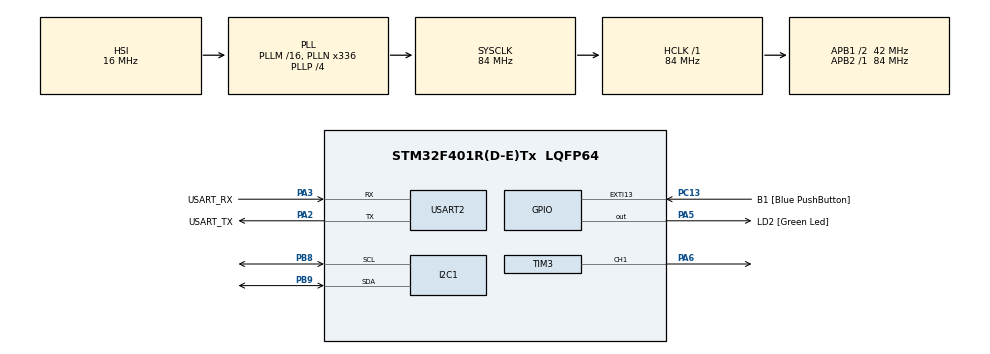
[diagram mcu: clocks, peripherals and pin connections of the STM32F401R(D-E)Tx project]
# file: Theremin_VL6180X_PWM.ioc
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Mcu.Family=STM32F4
Mcu.Name=STM32F401R(D-E)Tx
Mcu.Package=LQFP64
NVIC.EXTI15_10_IRQn=true\:0\:0\:false\:false\:true\:true\:true\:true
NVIC.PriorityGroup=NVIC_PRIORITYGROUP_4
NVIC.TIM2_IRQn=true\:0\:0\:false\:false\:true\:true\:true\:true
PA13.GPIO_Label=TMS
PA13.Mode=Trace_Asynchronous_SW
PA13.Signal=SYS_JTMS-SWDIO
PA14.GPIO_Label=TCK
PA14.Mode=Trace_Asynchronous_SW
PA14.Signal=SYS_JTCK-SWCLK
PA2.GPIO_Label=USART_TX
PA2.GPIO_Mode=GPIO_MODE_AF_PP
PA2.GPIO_PuPd=GPIO_NOPULL
PA2.GPIO_Speed=GPIO_SPEED_FREQ_LOW
PA2.Mode=Asynchronous
PA2.Signal=USART2_TX
PA3.GPIO_Label=USART_RX
PA3.GPIO_Mode=GPIO_MODE_AF_PP
PA3.GPIO_PuPd=GPIO_NOPULL
PA3.GPIO_Speed=GPIO_SPEED_FREQ_LOW
PA3.Mode=Asynchronous
PA3.Signal=USART2_RX
PA5.GPIO_Label=LD2 [Green Led]
PA5.GPIO_Mode=GPIO_MODE_OUTPUT_PP
PA5.GPIO_PuPd=GPIO_NOPULL
PA5.GPIO_Speed=GPIO_SPEED_FREQ_LOW
PA5.Signal=GPIO_Output
PA6.Signal=S_TIM3_CH1
PB3.GPIO_Label=SWO
PB3.Mode=Trace_Asynchronous_SW
PB3.Signal=SYS_JTDO-SWO
PB8.Mode=I2C
PB8.Signal=I2C1_SCL
PB9.Mode=I2C
PB9.Signal=I2C1_SDA
PC13-ANTI_TAMP.GPIO_Label=B1 [Blue PushButton]
PC13-ANTI_TAMP.GPIO_ModeDefaultEXTI=GPIO_MODE_IT_FALLING
PC13-ANTI_TAMP.GPIO_PuPd=GPIO_NOPULL
PC13-ANTI_TAMP.Signal=GPXTI13
PC14-OSC32_IN.Mode=LSE-External-Oscillator
PC14-OSC32_IN.Signal=RCC_OSC32_IN
PC15-OSC32_OUT.Mode=LSE-External-Oscillator
PC15-OSC32_OUT.Signal=RCC_OSC32_OUT
PH0\ -\ OSC_IN.Mode=HSE-External-Clock-Source
PH0\ -\ OSC_IN.Signal=RCC_OSC_IN
PH1\ -\ OSC_OUT.Mode=HSE-External-Clock-Source
PH1\ -\ OSC_OUT.Signal=RCC_OSC_OUT
ProjectManager.HeapSize=0x200
ProjectManager.StackSize=0x400
ProjectManager.TargetToolchain=STM32CubeIDE
RCC.48MHZClocksFreq_Value=48000000
RCC.AHBFreq_Value=84000000
RCC.APB1CLKDivider=RCC_HCLK_DIV2
RCC.APB1Freq_Value=42000000
RCC.APB1TimFreq_Value=84000000
RCC.APB2Freq_Value=84000000
RCC.APB2TimFreq_Value=84000000
RCC.CortexFreq_Value=84000000
RCC.HCLKFreq_Value=84000000
RCC.HSE_VALUE=8000000
RCC.HSI_VALUE=16000000
RCC.PLLN=336
RCC.PLLP=RCC_PLLP_DIV4
RCC.PLLQ=7
RCC.SYSCLKFreq_VALUE=84000000
RCC.SYSCLKSource=RCC_SYSCLKSOURCE_PLLCLK
RCC.VCOOutputFreq_Value=336000000
SH.S_TIM3_CH1.0=TIM3_CH1,PWM Generation1 CH1
TIM2.Period=49
TIM2.Prescaler=83
TIM3.Channel-PWM\ Generation1\ CH1=TIM_CHANNEL_1
TIM3.Period=839
TIM3.Pulse-PWM\ Generation1\ CH1=420
USART2.VirtualMode=VM_ASYNC
VP_TIM2_VS_ClockSourceINT.Mode=Internal
board=NUCLEO-F401RE

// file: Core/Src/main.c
/* USER CODE BEGIN Header */
/**
  ******************************************************************************
  * @file           : main.c
  * @brief          : Main program body
  ******************************************************************************
  * @attention
  *
  * Copyright (c) 2026 STMicroelectronics.
  * All rights reserved.
  *
  * This software is licensed under terms that can be found in the LICENSE file
  * in the root directory of this software component.
  * If no LICENSE file comes with this software, it is provided AS-IS.
  *
  ******************************************************************************
  */
/* USER CODE END Header */
#include "main.h"
#include "i2c.h"
#include "tim.h"
#include "usart.h"
#include "gpio.h"

/* USER CODE BEGIN Includes */
#include "vl6180x.h"
#include "stm32f4xx_hal.h"
#include <stdio.h>
#include <math.h>
#include "audio.h"
#include "tim.h"
/* USER CODE END Includes */

/* USER CODE BEGIN PV */

volatile uint32_t fs_ticks = 0;

/* USER CODE END PV */

void SystemClock_Config(void);

/* USER CODE BEGIN 0 */

static void I2C_Scan(void)
{
  printf("I2C scan start\r\n");   // start the scan

  // scan all 7-bit I2C addresses (1..127)
  for (uint8_t a = 1; a < 128; a++)
  {
    // We need to shift from 7 to 8 because of HAL
    if (HAL_I2C_IsDeviceReady(&hi2c1, (uint16_t)(a << 1), 1, 20) == HAL_OK)
    {
      // print device 7-bit address
      printf("Found 0x%02X\r\n", a);
    }
  }

  printf("I2C scan end\r\n");     // scan ending
}

// map filtered distance df  -> frequency f
static float map_distance_to_freq(float df)
{
    const float dmin = 40.0f,  dmax = 200.0f;   // distance range. I clamp it between 40 and 200
    const float fmin = 110.0f, fmax = 1760.0f;  // output freq range

    // normalize df to x in [0..1]
    float x = (df - dmin) / (dmax - dmin);
    if (x < 0.0f) x = 0.0f;
    if (x > 1.0f) x = 1.0f;

    // The mapping :
    float ratio = fmax / fmin;
    return fmin * powf(ratio, x);   // exponential. feels better than linear for sound. it smooths the raw number of the distance

}

/* USER CODE END 0 */

int main(void)
{

  /* MCU Configuration--------------------------------------------------------*/

  /* Reset of all peripherals, Initializes the Flash interface and the Systick. */
  HAL_Init();

  /* Configure the system clock */
  SystemClock_Config();

  /* Initialize all configured peripherals */
  MX_GPIO_Init();
  MX_USART2_UART_Init();
  MX_I2C1_Init();
  MX_TIM3_Init();
  MX_TIM2_Init();
  /* USER CODE BEGIN 2 */

  VL6180X_t tof;     // create a VL6180X device object
  // try to init the sensor on I2C1. for checking if the sensor is alive
  if (VL6180X_Init(&tof, &hi2c1, 0x29))
  {
    // successful
    printf("VL6180X init OK\r\n");
  }
  else
  {
    // fail
    printf("VL6180X init FAIL\r\n");
  }

  I2C_Scan();

  const char msg[] = "BOOT is OK\r\n";
  HAL_UART_Transmit(&huart2, (uint8_t*)msg, sizeof(msg)-1, HAL_MAX_DELAY);   // check the BOOT

  // printf("Hello from Polito\r\n");  // printf check

  // same as before. HAL wants 8-bit. so I shift
  uint16_t addr = (0x29 << 1);

  // Finally I can check if the sensor is recognized or not
  HAL_StatusTypeDef ok = HAL_I2C_IsDeviceReady(&hi2c1, addr, 3, 100);    // try 3 times. and each time wait for 100 ms
  if (ok == HAL_OK)
      printf("VL6180X detected\r\n");
  else
      printf("VL6180X NOT detected\r\n");

  // start PWM
  HAL_TIM_PWM_Start(&htim3, TIM_CHANNEL_1);
  // start Fs interrupt timer
  HAL_TIM_Base_Start_IT(&htim2);

  // init audio (ARR is the PWM timer period)
  Audio_Init(&htim3, TIM_CHANNEL_1, (uint16_t)__HAL_TIM_GET_AUTORELOAD(&htim3), 20000);
  Audio_SetWaveform(WAVE_SINE);
  Audio_SetFreqHz(440.0f);

  /* USER CODE END 2 */

  /* Infinite loop */
  /* USER CODE BEGIN WHILE */
  while (1)
  {
	      // I used a filter to smooth the numbers
	      static float df = 100.0f;
	      const float alpha = 0.15f;    // smoothing factor. it alpha is smaller, the numbers are smoother but it is slower

	      // read distance from sensor
	      uint8_t mm;

	      if (VL6180X_ReadRangeSingle(&tof, &mm, 200))
	      {
	          float d = (float)mm;

	          // sth like saturation
	          if (d < 40)  d = 40;
	          if (d > 200) d = 200;

	          // low-pass filter
	          df = df + alpha * (d - df);

	          // printf("Real = %u  Filtered = %.1f\r\n", mm, df);

	          float f = map_distance_to_freq(df);
	          Audio_SetFreqHz(f);
	          // printf("raw=%u  filt=%.1f  f=%.1f\r\n", mm, df, f);     // this is the main printf to see the values in putty. commented for the last part of the project

	      }
	      HAL_Delay(50); // 20 updates per second

	      static uint32_t last = 0;
	      if (HAL_GetTick() - last >= 1000) {
	          last += 1000;
	          // printf("Fs ticks/sec = %lu\r\n", fs_ticks);   // commented for the last part of the project
	          fs_ticks = 0;
	      }

    /* USER CODE END WHILE */

  }
}

void SystemClock_Config(void)
{
  RCC_OscInitTypeDef RCC_OscInitStruct = {0};
  RCC_ClkInitTypeDef RCC_ClkInitStruct = {0};

  /** Configure the main internal regulator output voltage
  */
  __HAL_RCC_PWR_CLK_ENABLE();
  __HAL_PWR_VOLTAGESCALING_CONFIG(PWR_REGULATOR_VOLTAGE_SCALE2);

  /** Initializes the RCC Oscillators according to the specified parameters
  * in the RCC_OscInitTypeDef structure.
  */
  RCC_OscInitStruct.OscillatorType = RCC_OSCILLATORTYPE_HSI;
  RCC_OscInitStruct.HSIState = RCC_HSI_ON;
  RCC_OscInitStruct.HSICalibrationValue = RCC_HSICALIBRATION_DEFAULT;
  RCC_OscInitStruct.PLL.PLLState = RCC_PLL_ON;
  RCC_OscInitStruct.PLL.PLLSource = RCC_PLLSOURCE_HSI;
  RCC_OscInitStruct.PLL.PLLM = 16;
  RCC_OscInitStruct.PLL.PLLN = 336;
  RCC_OscInitStruct.PLL.PLLP = RCC_PLLP_DIV4;
  RCC_OscInitStruct.PLL.PLLQ = 7;
  if (HAL_RCC_OscConfig(&RCC_OscInitStruct) != HAL_OK)
  {
    Error_Handler();
  }

  /** Initializes the CPU, AHB and APB buses clocks
  */
  RCC_ClkInitStruct.ClockType = RCC_CLOCKTYPE_HCLK|RCC_CLOCKTYPE_SYSCLK
                              |RCC_CLOCKTYPE_PCLK1|RCC_CLOCKTYPE_PCLK2;
  RCC_ClkInitStruct.SYSCLKSource = RCC_SYSCLKSOURCE_PLLCLK;
  RCC_ClkInitStruct.AHBCLKDivider = RCC_SYSCLK_DIV1;
  RCC_ClkInitStruct.APB1CLKDivider = RCC_HCLK_DIV2;
  RCC_ClkInitStruct.APB2CLKDivider = RCC_HCLK_DIV1;

  if (HAL_RCC_ClockConfig(&RCC_ClkInitStruct, FLASH_LATENCY_2) != HAL_OK)
  {
    Error_Handler();
  }
}

/* USER CODE BEGIN 4 */
void HAL_TIM_PeriodElapsedCallback(TIM_HandleTypeDef *htim)
{
  if (htim->Instance == TIM2)   // Fs timer
  {
    fs_ticks++;
    Audio_Tick();  // ISR
  }
}

// the buttom for changing the waveforms
void HAL_GPIO_EXTI_Callback(uint16_t GPIO_Pin)
{
  if (GPIO_Pin == GPIO_PIN_13)
  {
    static uint32_t last = 0;
    uint32_t now = HAL_GetTick();
    if (now - last < 200) return;  // 200 ms debounce
    last = now;

    static uint8_t w = 0;
    w = (w + 1) & 0x03;  // 0..3

    switch (w)
    {
      case 0: Audio_SetWaveform(WAVE_SINE);     break;
      case 1: Audio_SetWaveform(WAVE_TRI);      break;
      case 2: Audio_SetWaveform(WAVE_SQUARE);   break;
      case 3: Audio_SetWaveform(WAVE_SAW);      break;
    }
  }
}

/* USER CODE END 4 */

void Error_Handler(void)
{
  __disable_irq();
  while (1)
  {
  }
}
